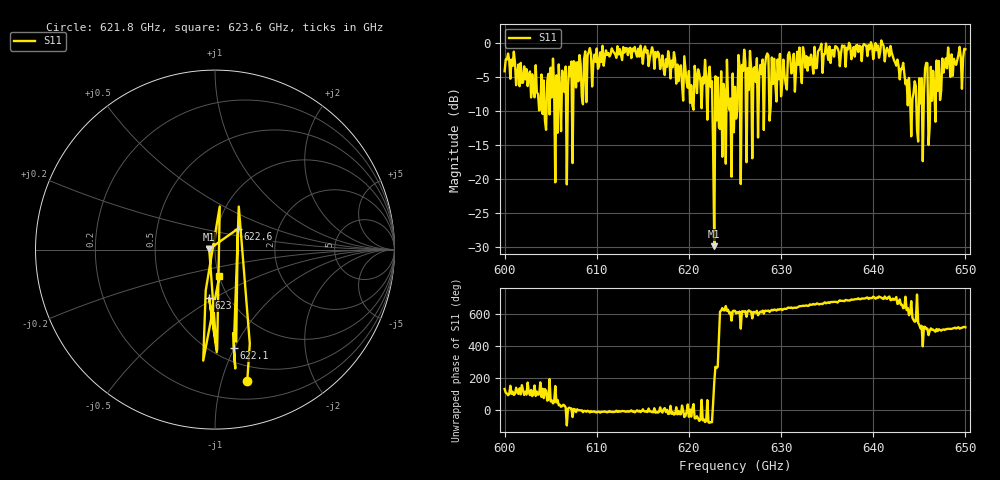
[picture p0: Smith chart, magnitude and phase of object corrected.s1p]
!Created with skrf (http://scikit-rf.org).
# GHz S MA R 50.0
!freq magS11 angS11
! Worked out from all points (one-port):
!   401 points, 600 GHz to 650 GHz, reference 50 ohm
!   lowest |S11| = -29.8 dB at 622.8 GHz (marker M1), VSWR 1.07, Z = 46.9 + j0.281 ohm
!   |S11| at or under -10 dB: 604.346 GHz to 604.5476 GHz (201.6 MHz wide, 0.0334 % of centre); 622.5568 GHz to 622.8492 GHz (292.4 MHz wide, 0.047 % of centre); 623.21 GHz to 623.4134 GHz (203.5 MHz wide, 0.0326 % of centre) (the widest 3 of 28)
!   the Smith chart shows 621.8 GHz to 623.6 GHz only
!   S11 on the Smith chart (normalised r, x): 621.8 GHz: 0.36, -1.21; 622.1 GHz: 0.62, -1.00; 622.6 GHz: 1.25, +0.30; 623 GHz: 0.81, -0.47; 623.6 GHz: 1.01, -0.30
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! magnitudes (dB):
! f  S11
! 600 GHz  -4.1
! 604.4 GHz  -11.4
! 605 GHz  -3.6
! 605.6 GHz  -4.7
! 606.2 GHz  -4.0
! 612.5 GHz  -0.9
! 618.8 GHz  -3.1
! 620.2 GHz  -6.2
! 621.8 GHz  -2.4
! 622.1 GHz  -5.1
! 622.4 GHz  -6.5
! 622.5 GHz  -5.6
! 622.6 GHz  -15.3
! 622.8 GHz  -29.8
! 623 GHz  -11.3
! 623.1 GHz  -5.0
! 623.6 GHz  -16.7
! 625 GHz  -6.4
! 626 GHz  -1.0
! 631.2 GHz  -3.9
! 637.5 GHz  -0.3
! 641.8 GHz  -1.9
! 643.8 GHz  -9.1
! 645.1 GHz  -8.8
! 645.8 GHz  -2.9
! 646.2 GHz  -3.5
! 648 GHz  -3.7
! 650 GHz  -0.9
